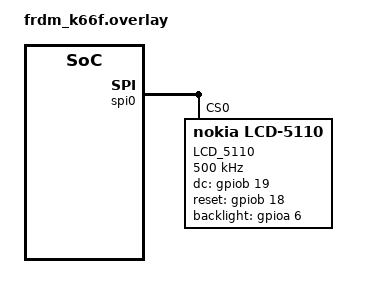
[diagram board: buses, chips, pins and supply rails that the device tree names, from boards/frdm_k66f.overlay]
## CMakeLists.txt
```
# SPDX-License-Identifier: Apache-2.0

cmake_minimum_required(VERSION 3.20.0)
find_package(Zephyr REQUIRED HINTS $ENV{ZEPHYR_BASE})
project(multithread_blinky)

target_sources(app PRIVATE src/main.c)
zephyr_include_directories(src/LCD5110)
zephyr_include_directories(src)
zephyr_library_sources(src/button.c)
zephyr_library_sources(src/gesture_detection.c)
zephyr_library_sources(src/lcd_display.c)
zephyr_library_sources(src/led_control.c)
zephyr_library_sources(src/sensor_sampling.c)
zephyr_library_sources(src/shared_data.c)
zephyr_library_sources(src/snake_game.c)
zephyr_library_sources(src/terminal_logging.c)
zephyr_library_sources(src/utils.c)
zephyr_library_sources(src/LCD5110/LCD_nokia.c)
zephyr_library_sources(src/LCD5110/LCD_nokia_images.c)
```

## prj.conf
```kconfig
# CONFIG_GPIO=y
CONFIG_PRINTK=y
CONFIG_LOG=y

# For RGB LEDs
CONFIG_PWM=y

# For FXOS8700
CONFIG_SENSOR=y
# CONFIG_SENSOR_LOG_LEVEL_DBG=y
CONFIG_FXOS8700_MODE_HYBRID=y
CONFIG_FXOS8700_TEMP=y
CONFIG_FXOS8700_TRIGGER_OWN_THREAD=y
CONFIG_CBPRINTF_FP_SUPPORT=y

# For buttons
CONFIG_GPIO=y

# For RTOS features
CONFIG_EVENTS=y

# For LCD
CONFIG_SPI=y
CONFIG_GPIO=y
```

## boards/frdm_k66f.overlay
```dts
&spi0 {
    status = "okay";
    pinctrl-0 = <&spi0_default>;
    pinctrl-names = "default";
    lcd5110: lcd5110@0 {
        compatible = "nokia,lcd-5110";
        reg = <0>; // Use hardware CS0
        spi-max-frequency = <500000>;
        dc-gpios = <&gpiob 19 GPIO_ACTIVE_HIGH>; // Data/Command pin
        reset-gpios = <&gpiob 18 GPIO_ACTIVE_HIGH>; // Reset pin
        backlight-gpios = <&gpioa 6 GPIO_ACTIVE_HIGH>; // Backlight
        label = "LCD_5110";
    };
};
```

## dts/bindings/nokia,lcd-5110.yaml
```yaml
# SPDX-License-Identifier: Apache-2.0

description: |
  Binding for Nokia 5110 LCD display using the PCD8544 controller.

compatible: "nokia,lcd-5110"

include:
  - spi-device.yaml

properties:
  dc-gpios:
    type: phandle-array
    required: true
    description: Data/Command control GPIO pin.

  reset-gpios:
    type: phandle-array
    required: true
    description: Reset GPIO pin.

  backlight-gpios:
    type: phandle-array
    required: false
    description: Backlight pin.

  label:
    type: string
    required: false
    description: Device label.
```

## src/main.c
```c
/**
 * @file main.c
 * @brief Main entry point for the multi-threaded sensor application.
 */

#include <zephyr/kernel.h>

#include "sensor_sampling.h"
#include "gesture_detection.h"
#include "led_control.h"
#include "lcd_display.h"
#include "terminal_logging.h"
#include "button.h"
#include "shared_data.h"

/* Stack size and thread priorities */
#define STACKSIZE                  (1024)
#define PRIORITY_SENSOR_SAMPLING   (4)
#define PRIORITY_GESTURE_DETECTION (5)
#define PRIORITY_LED_CONTROL       (6)
#define PRIORITY_TERMINAL_LOGGING  (7)
#define PRIORITY_LCD_DISPLAY       (8)
#define PRIORITY_BUTTON            (9)

/* Define threads */
K_THREAD_DEFINE(sensor_sampling_id, STACKSIZE, sensor_sampling_thread, NULL, NULL, NULL,
        PRIORITY_SENSOR_SAMPLING, 0, 0);
K_THREAD_DEFINE(gesture_detection_id, STACKSIZE, gesture_detection_thread, NULL, NULL, NULL,
        PRIORITY_GESTURE_DETECTION, 0, 0);
K_THREAD_DEFINE(led_control_id, STACKSIZE, led_control_thread, NULL, NULL, NULL,
        PRIORITY_LED_CONTROL, 0, 0);
K_THREAD_DEFINE(lcd_display_id, STACKSIZE, lcd_display_thread, NULL, NULL, NULL,
        PRIORITY_LCD_DISPLAY, 0, 0);
K_THREAD_DEFINE(terminal_logging_id, STACKSIZE, terminal_logging_thread, NULL, NULL, NULL,
        PRIORITY_TERMINAL_LOGGING, 0, 0);
K_THREAD_DEFINE(button_id, STACKSIZE, button_thread, NULL, NULL, NULL, PRIORITY_BUTTON, 0, 0);

/**
 * @brief Main function.
 *
 * Initializes shared data and starts the threads.
 *
 * @return int Always returns 0.
 */
int main(void)
{
    /* Initialize shared data and synchronization primitives */
    shared_data_init();

    return 0;
}
```

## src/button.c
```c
/**
 * @file button.c
 * @brief Implementation of button handling functionality.
 */

#include "button.h"
#include "shared_data.h"
#include <zephyr/kernel.h>
#include <zephyr/device.h>
#include <zephyr/sys/printk.h>

#define SW0_NODE DT_ALIAS(sw0) /**< SW0 is the mode toggle button */

#define SLEEP_TIME_MS (50)

/* Button configuration */
static const struct gpio_dt_spec button = GPIO_DT_SPEC_GET_OR(SW0_NODE, gpios, {0});
static struct gpio_callback button_cb_data;

/* Function prototype */
static void button_pressed(const struct device *dev, struct gpio_callback *cb, uint32_t pins);
static void button_debounced(struct k_work *work);

/* Workload delay to debounce button */
static K_WORK_DELAYABLE_DEFINE(button_rescheduled, button_debounced);

/**
 * @brief Button debounce callback.
 *
 * The actions to do after the button is debounced.
 *
 * @param work Pointer to the work structure
 */
static void button_debounced(struct k_work *work)
{
    ARG_UNUSED(work);

    /* If the button is pressed */
    if(gpio_pin_get_dt(&button)) {
        /* Read and update mode atomically */
        int current_mode = atomic_get(&mode);
        current_mode = (current_mode + 1) % e_VisualizationMode_MAX;
        atomic_set(&mode, current_mode);

        printk("Button pressed, mode changed to %d\n", current_mode);
    }
}

/**
 * @brief Button interrupt handler.
 *
 * Changes the visualization mode when the button is pressed.
 *
 * @param dev Pointer to the device structure
 * @param cb Pointer to the callback structure
 * @param pins Pins that triggered the interrupt
 */
static void button_pressed(const struct device *dev, struct gpio_callback *cb, uint32_t pins)
{
    k_work_reschedule(&button_rescheduled, K_MSEC(15));
}

/**
 * @brief Button configuration thread.
 *
 * Configures the button in a separate thread.
 */
void button_thread(void)
{
    int ret = 0;

    /* Configure the button */
    if (!device_is_ready(button.port)) {
        printk("Error: Button device %s is not ready\n", button.port->name);
        return;
    }

    ret = gpio_pin_configure_dt(&button, GPIO_INPUT);
    if (ret != 0) {
        printk("Error %d: Failed to configure button port %s, pin %d\n", ret,
               button.port->name, button.pin);
        return;
    }

    ret = gpio_pin_interrupt_configure_dt(&button, GPIO_INT_EDGE_TO_ACTIVE);
    if (ret != 0) {
        printk("Error %d: Failed to configure button interrupt on pin %d\n", ret,
               button.pin);
        return;
    }

    gpio_init_callback(&button_cb_data, button_pressed, BIT(button.pin));
    gpio_add_callback(button.port, &button_cb_data);
    printk("Configured button at port %s, pin %d\n", button.port->name, button.pin);

    /* Keep the thread alive */
    while (1) {
        k_msleep(SLEEP_TIME_MS);
    }
}
```

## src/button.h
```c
/**
 * @file button.h
 * @brief Header file for button handling module.
 */

#ifndef BUTTON_H
#define BUTTON_H

void button_thread(void);

#endif /* BUTTON_H */
```

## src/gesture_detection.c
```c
/**
 * @file gesture_detection.c
 * @brief Implementation of gesture detection functionality.
 */

#include "gesture_detection.h"
#include "shared_data.h"
#include <zephyr/kernel.h>
#include <zephyr/sys/printk.h>
#include <math.h>

#define SLEEP_TIME_MS (200)

/**
 * @brief Gesture detection thread function.
 *
 * Detects gestures based on accelerometer data.
 * Waits for data availability using a semaphore and uses a mutex to read shared data.
 * Posts events when gestures are detected.
 */
void gesture_detection_thread(void)
{
    while (1) {
        /* Wait for data from sensor sampling thread */
        k_sem_take(&data_ready_sem, K_FOREVER);

        /* Lock mutex to safely read sensor data */
        k_mutex_lock(&data_mutex, K_FOREVER);
        float x = accel_x;
        float y = accel_y;
        float z = accel_z;
        k_mutex_unlock(&data_mutex);

        float magnitude = sqrtf(x * x + y * y + z * z);

        if (magnitude > SHAKE_THRESHOLD) {
            /* Post shake event */
            k_event_post(&gesture_event, SHAKE_EVENT);
        } else if (fabsf(x) > TILT_THRESHOLD || fabsf(y) > TILT_THRESHOLD) {
            /* Post tilt event */
            k_event_post(&gesture_event, TILT_EVENT);
        } else if (z < FLIP_THRESHOLD) {
            /* Post flip event */
            k_event_post(&gesture_event, FLIP_EVENT);
        }

        k_msleep(SLEEP_TIME_MS);
    }
}
```

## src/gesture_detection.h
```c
/**
 * @file gesture_detection.h
 * @brief Header file for gesture detection module.
 */

#ifndef GESTURE_DETECTION_H
#define GESTURE_DETECTION_H

void gesture_detection_thread(void);

#endif /* GESTURE_DETECTION_H */
```

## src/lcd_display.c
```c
/**
 * @file lcd_display.c
 * @brief Implementation of LCD display functionality.
 */

#include "lcd_display.h"
#include "shared_data.h"
#include "snake_game.h"
#include "utils.h"
#include <zephyr/kernel.h>
#include <zephyr/sys/atomic.h>
#include <LCD_nokia.h>

#define SLEEP_TIME_MS (100)

/* External bitmap for splash screen */
extern const uint8_t ITESO[];

/**
 * @brief LCD display thread function.
 *
 * Updates the LCD display based on the current visualization mode.
 * Uses a mutex to access shared data and an atomic variable to read the current mode.
 */
void lcd_display_thread(void)
{
    /* Initialize the LCD */
    LCD_nokia_init();
    LCD_nokia_clear();

    while (1) {
        /* Read the current mode */
        int current_mode = atomic_get(&mode);

        switch (current_mode) {
        case e_VisualizationMode_SplashScreen: {
            LCD_nokia_clear();
            LCD_nokia_bitmap(ITESO);
            while (atomic_get(&mode) == e_VisualizationMode_SplashScreen) {
                k_msleep(50);
            }
            break;
        }
        case e_VisualizationMode_AccData: {
            /* Lock mutex to read sensor data */
            k_mutex_lock(&data_mutex, K_FOREVER);
            float x = accel_x;
            float y = accel_y;
            float z = accel_z;
            float temp = temperature;
            k_mutex_unlock(&data_mutex);
            display_numeric_data(x, y, z, temp);

            /* Display labels */
            LCD_nokia_goto_xy(0, 0);
            LCD_nokia_send_string("Acceleration");
            break;
        }

        case e_VisualizationMode_MagData: {
            /* Lock mutex to read sensor data */
            k_mutex_lock(&data_mutex, K_FOREVER);
            float x = magn_x;
            float y = magn_y;
            float z = magn_z;
            float temp = temperature;
            k_mutex_unlock(&data_mutex);
            display_numeric_data(x, y, z, temp);

            /* Display labels */
            LCD_nokia_goto_xy(0, 0);
            LCD_nokia_send_string("Magnetometer");
            break;
        }

        case e_VisualizationMode_AccPlot: {
            /* Lock mutex to read data buffers */
            k_mutex_lock(&data_mutex, K_FOREVER);
            float *data_x = accel_x_data;
            float *data_y = accel_y_data;
            float *data_z = accel_z_data;
            k_mutex_unlock(&data_mutex);
            display_graphical_data(data_x, data_y, data_z, -40.0f, 40.0f);

            /* Display labels */
            LCD_nokia_goto_xy(0, 0);
            LCD_nokia_send_string("Acceleration");
            break;
        }

        case e_VisualizationMode_MagPlot: {
            /* Lock mutex to read data buffers */
            k_mutex_lock(&data_mutex, K_FOREVER);
            float *data_x = magn_x_data;
            float *data_y = magn_y_data;
            float *data_z = magn_z_data;
            k_mutex_unlock(&data_mutex);
            display_graphical_data(data_x, data_y, data_z, -5.0f, 5.0f);

            /* Display labels */
            LCD_nokia_goto_xy(0, 0);
            LCD_nokia_send_string("Magnetometer");
            break;
        }

        case e_VisualizationMode_Compass: {
            /* Lock mutex to read sensor data */
            k_mutex_lock(&data_mutex, K_FOREVER);
            float mag_x_value = magn_x;
            float mag_y_value = magn_y;
            k_mutex_unlock(&data_mutex);
            float heading = calculate_heading(mag_x_value, mag_y_value);
            draw_compass(heading);
            break;
        }

        case e_VisualizationMode_LevelBubble: {
            /* Lock mutex to read accelerometer data */
            k_mutex_lock(&data_mutex, K_FOREVER);
            float acc_x_value = accel_x;
            float acc_y_value = accel_y;
            float acc_z_value = accel_z;
            k_mutex_unlock(&data_mutex);
            float pitch = calculate_pitch(acc_x_value, acc_y_value, acc_z_value);
            float roll = calculate_roll(acc_x_value, acc_y_value, acc_z_value);
            draw_level_bubble(pitch, roll);
            break;
        }

        case e_VisualizationMode_TiltIndicator: {
            /* Lock mutex to read accelerometer data */
            k_mutex_lock(&data_mutex, K_FOREVER);
            float acc_x_value = accel_x;
            float acc_y_value = accel_y;
            float acc_z_value = accel_z;
            k_mutex_unlock(&data_mutex);
            float pitch = calculate_pitch(acc_x_value, acc_y_value, acc_z_value);
            float roll = calculate_roll(acc_x_value, acc_y_value, acc_z_value);
            draw_inclinometer(pitch, roll);
            break;
        }

        case e_VisualizationMode_SnakeGame:
            snake_game();
            break;

        default:
            LCD_nokia_clear();
            LCD_nokia_goto_xy(0, 0);
            LCD_nokia_send_string("Invalid Mode");
            break;
        }

        k_msleep(SLEEP_TIME_MS);
    }
}
```

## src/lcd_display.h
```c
/**
 * @file lcd_display.h
 * @brief Header file for LCD display module.
 */

#ifndef LCD_DISPLAY_H
#define LCD_DISPLAY_H

void lcd_display_thread(void);

#endif /* LCD_DISPLAY_H */
```

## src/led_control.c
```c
/**
 * @file led_control.c
 * @brief Implementation of RGB LED control functionality.
 */

#include "led_control.h"
#include "shared_data.h"
#include <zephyr/kernel.h>
#include <zephyr/device.h>
#include <zephyr/drivers/pwm.h>
#include <zephyr/sys/printk.h>
#include <stdlib.h>

#define SLEEP_TIME_MS (200)
#define MAX_PERCENT   (100)

/* PWM specifications for RGB LED */
static const struct pwm_dt_spec red_pwm_led = PWM_DT_SPEC_GET(DT_ALIAS(red_pwm_led));
static const struct pwm_dt_spec green_pwm_led = PWM_DT_SPEC_GET(DT_ALIAS(green_pwm_led));
static const struct pwm_dt_spec blue_pwm_led = PWM_DT_SPEC_GET(DT_ALIAS(blue_pwm_led));

/* Function prototypes */
static int set_rgb_led(uint8_t red_pct, uint8_t green_pct, uint8_t blue_pct,
               uint8_t brightness_pct);

/**
 * @brief LED control thread function.
 *
 * Updates RGB LED based on gestures.
 * Waits for gesture events using an event and controls the RGB LED accordingly.
 */
void led_control_thread(void)
{
    printk("Initializing PWM-based RGB LED control\n");

    if (!pwm_is_ready_dt(&red_pwm_led) || !pwm_is_ready_dt(&green_pwm_led) ||
        !pwm_is_ready_dt(&blue_pwm_led)) {
        printk("Error: one or more PWM devices not ready\n");
        return;
    }

    uint32_t red = 100, green = 100, blue = 100, brightness = 50;

    while (1) {
        static bool led_on = true;
        /* Wait for gesture events */
        uint32_t events = k_event_wait(
            &gesture_event, SHAKE_EVENT | TILT_EVENT | FLIP_EVENT, false, K_FOREVER);

        if (events & SHAKE_EVENT) {
            printk("Shake detected!\n");
            red = rand() % 100;
            green = rand() % 100;
            blue = rand() % 100;
        }

        if (events & TILT_EVENT) {
            printk("Tilt detected!\n");
            brightness = (brightness + 10) % 100;
        }

        if (events & FLIP_EVENT) {
            printk("Flip detected!\n");
            led_on = !led_on;
        }

        /* Set the RGB LED */
        if (led_on) {
            set_rgb_led(red, green, blue, brightness);
        } else {
            set_rgb_led(0, 0, 0, 0); /* Turn off LED */
        }

        /* Clear the event flags */
        k_event_set(&gesture_event, 0);

        k_msleep(SLEEP_TIME_MS);
    }
}

/**
 * @brief Sets RGB LED colors and brightness.
 *
 * @param red_pct Red intensity percentage (0-100)
 * @param green_pct Green intensity percentage (0-100)
 * @param blue_pct Blue intensity percentage (0-100)
 * @param brightness_pct Overall brightness percentage (0-100)
 * @return int 0 on success, negative error code on failure
 */
static int set_rgb_led(uint8_t red_pct, uint8_t green_pct, uint8_t blue_pct, uint8_t brightness_pct)
{
    int ret;

    /* Ensure the percentage values are within 0-100% */
    if (red_pct > MAX_PERCENT || green_pct > MAX_PERCENT || blue_pct > MAX_PERCENT ||
        brightness_pct > MAX_PERCENT) {
        printk("Error: percentage values must be between 0 and 100\n");
        return -EINVAL;
    }

    /* Use 64-bit integers to avoid overflow */
    uint64_t pulse_red, pulse_green, pulse_blue;

    /* Compute pulse widths */
    pulse_red = ((uint64_t)red_pwm_led.period * red_pct * brightness_pct) /
            (MAX_PERCENT * MAX_PERCENT);
    pulse_green = ((uint64_t)green_pwm_led.period * green_pct * brightness_pct) /
              (MAX_PERCENT * MAX_PERCENT);
    pulse_blue = ((uint64_t)blue_pwm_led.period * blue_pct * brightness_pct) /
             (MAX_PERCENT * MAX_PERCENT);

    /* Set pulse widths */
    ret = pwm_set_pulse_dt(&red_pwm_led, (uint32_t)pulse_red);
    if (ret != 0) {
        printk("Error %d: red PWM write failed\n", ret);
        return ret;
    }

    ret = pwm_set_pulse_dt(&green_pwm_led, (uint32_t)pulse_green);
    if (ret != 0) {
        printk("Error %d: green PWM write failed\n", ret);
        return ret;
    }

    ret = pwm_set_pulse_dt(&blue_pwm_led, (uint32_t)pulse_blue);
    if (ret != 0) {
        printk("Error %d: blue PWM write failed\n", ret);
        return ret;
    }

    return 0;
}
```

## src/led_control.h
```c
/**
 * @file led_control.h
 * @brief Header file for LED control module.
 */

#ifndef LED_CONTROL_H
#define LED_CONTROL_H

void led_control_thread(void);

#endif /* LED_CONTROL_H */
```

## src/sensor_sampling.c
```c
/**
 * @file sensor_sampling.c
 * @brief Implementation of sensor sampling functionality.
 */

#include "sensor_sampling.h"
#include "shared_data.h"
#include <zephyr/kernel.h>
#include <zephyr/device.h>
#include <zephyr/drivers/sensor.h>
#include <zephyr/sys/printk.h>
#include <string.h>

#define SLEEP_TIME_MS (50)

/**
 * @brief Sensor sampling thread function.
 *
 * Fetches data from sensors and updates shared variables.
 * Uses a semaphore to signal data availability and a mutex to protect shared data.
 */
void sensor_sampling_thread(void)
{
    struct sensor_value accel[3];
    struct sensor_value magn[3];
    struct sensor_value temp;
    const struct device *const dev = DEVICE_DT_GET_ONE(nxp_fxos8700);

    if (!device_is_ready(dev)) {
        printk("Device %s is not ready\n", dev->name);
        return;
    }

    while (1) {
        if (sensor_sample_fetch(dev)) {
            printk("Failed to fetch sensor data\n");
            return;
        }

        sensor_channel_get(dev, SENSOR_CHAN_ACCEL_XYZ, accel);
        sensor_channel_get(dev, SENSOR_CHAN_MAGN_XYZ, magn);
#ifdef CONFIG_FXOS8700_TEMP
        sensor_channel_get(dev, SENSOR_CHAN_DIE_TEMP, &temp);
#endif

        /* Lock mutex to safely update shared sensor data */
        k_mutex_lock(&data_mutex, K_FOREVER);
        accel_x = sensor_value_to_double(&accel[0]);
        accel_y = sensor_value_to_double(&accel[1]);
        accel_z = sensor_value_to_double(&accel[2]);
        magn_x = sensor_value_to_double(&magn[0]);
        magn_y = sensor_value_to_double(&magn[1]);
        magn_z = sensor_value_to_double(&magn[2]);
#ifdef CONFIG_FXOS8700_TEMP
        temperature = sensor_value_to_double(&temp);
#endif

        /* Update data buffers for plotting */
        /* Shift data to the left */
        memmove(&accel_x_data[0], &accel_x_data[1], (SCREENW - 1) * sizeof(float));
        memmove(&accel_y_data[0], &accel_y_data[1], (SCREENW - 1) * sizeof(float));
        memmove(&accel_z_data[0], &accel_z_data[1], (SCREENW - 1) * sizeof(float));
        memmove(&magn_x_data[0], &magn_x_data[1], (SCREENW - 1) * sizeof(float));
        memmove(&magn_y_data[0], &magn_y_data[1], (SCREENW - 1) * sizeof(float));
        memmove(&magn_z_data[0], &magn_z_data[1], (SCREENW - 1) * sizeof(float));

        /* Add new data at the end */
        accel_x_data[SCREENW - 1] = accel_x;
        accel_y_data[SCREENW - 1] = accel_y;
        accel_z_data[SCREENW - 1] = accel_z;
        magn_x_data[SCREENW - 1] = magn_x;
        magn_y_data[SCREENW - 1] = magn_y;
        magn_z_data[SCREENW - 1] = magn_z;

        k_mutex_unlock(&data_mutex);

        /* Signal data readiness using a semaphore */
        k_sem_give(&data_ready_sem);

        /* Enqueue sensor data in the message queue */
        float sensor_data[] = {accel_x, accel_y, accel_z, magn_x, magn_y, magn_z};
        k_msgq_put(&sensor_msgq, &sensor_data, K_NO_WAIT);

        k_msleep(SLEEP_TIME_MS);
    }
}
```

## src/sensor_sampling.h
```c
/**
 * @file sensor_sampling.h
 * @brief Header file for sensor sampling module.
 */

#ifndef SENSOR_SAMPLING_H
#define SENSOR_SAMPLING_H

void sensor_sampling_thread(void);

#endif /* SENSOR_SAMPLING_H */
```

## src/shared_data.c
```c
/**
 * @file shared_data.c
 * @brief Implementation of shared data and synchronization primitives.
 */

#include "shared_data.h"
#include <zephyr/kernel.h>
#include <zephyr/sys/atomic.h>

/* Synchronization primitives */
struct k_sem data_ready_sem;
struct k_mutex data_mutex;
struct k_msgq sensor_msgq;
struct k_event gesture_event;

/* Sensor data */
volatile float accel_x = 0, accel_y = 0, accel_z = 0;
volatile float magn_x = 0, magn_y = 0, magn_z = 0;
volatile float temperature = 0.0;

/* Data buffers for plotting */
float accel_x_data[SCREENW] = {0};
float accel_y_data[SCREENW] = {0};
float accel_z_data[SCREENW] = {0};
float magn_x_data[SCREENW] = {0};
float magn_y_data[SCREENW] = {0};
float magn_z_data[SCREENW] = {0};

/* LCD bitmap buffer */
uint8_t lcd_bitmap[SCREENW * SCREENH / 8] = {0};

/* Atomic variable for visualization mode */
atomic_t mode;

/* Buffer for message queue */
static float sensor_msgq_buffer[10 * sizeof(float[6])];

/**
 * @brief Initialize shared data and synchronization primitives.
 */
void shared_data_init(void)
{
    k_sem_init(&data_ready_sem, 0, 1);
    k_mutex_init(&data_mutex);
    k_msgq_init(&sensor_msgq, (char *)sensor_msgq_buffer, sizeof(float[6]), 10);
    k_event_init(&gesture_event);
    atomic_set(&mode, e_VisualizationMode_SplashScreen);
}
```

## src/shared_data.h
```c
/**
 * @file shared_data.h
 * @brief Shared data and synchronization primitives used across modules.
 */

#ifndef SHARED_DATA_H
#define SHARED_DATA_H

#include <zephyr/kernel.h>
#include <zephyr/sys/atomic.h>
#include "LCD_nokia.h"

/* Synchronization primitives */
extern struct k_sem data_ready_sem;
extern struct k_mutex data_mutex;
extern struct k_msgq sensor_msgq;
extern struct k_event gesture_event;

/* Sensor data */
extern volatile float accel_x, accel_y, accel_z;
extern volatile float magn_x, magn_y, magn_z;
extern volatile float temperature;

/* Data buffers for plotting */
extern float accel_x_data[];
extern float accel_y_data[];
extern float accel_z_data[];
extern float magn_x_data[];
extern float magn_y_data[];
extern float magn_z_data[];

/* LCD bitmap buffer */
extern uint8_t lcd_bitmap[SCREENW * SCREENH / 8];

/* Visualization modes */
typedef enum {
    e_VisualizationMode_SplashScreen = 0,
    e_VisualizationMode_AccData,
    e_VisualizationMode_AccPlot,
    e_VisualizationMode_MagData,
    e_VisualizationMode_MagPlot,
    e_VisualizationMode_Compass,
    e_VisualizationMode_LevelBubble,
    e_VisualizationMode_TiltIndicator,
    e_VisualizationMode_SnakeGame,
    e_VisualizationMode_MAX
} e_VisualizationMode;

/** @brief Atomic variable to store the current visualization mode. */
extern atomic_t mode;

/* Gesture thresholds */
#define SHAKE_THRESHOLD (12.0f)
#define TILT_THRESHOLD  (2.0f)
#define FLIP_THRESHOLD  (-9.0f)

/* Gesture event bits */
#define SHAKE_EVENT BIT(0)
#define TILT_EVENT  BIT(1)
#define FLIP_EVENT  BIT(2)

/* Function to initialize shared data */
void shared_data_init(void);

#endif /* SHARED_DATA_H */
```
